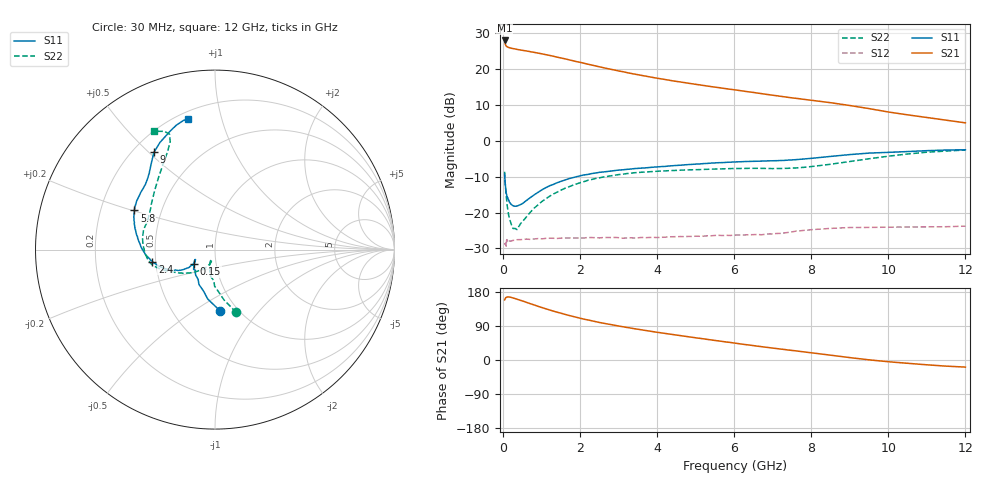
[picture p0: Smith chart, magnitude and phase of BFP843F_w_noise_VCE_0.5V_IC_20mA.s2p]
! Infineon Technologies  Discrete & RF Semiconductors
! BFP843F
! VCE =  0.5 V,  IC =  20 mA
! Common Emitter S-Parameters:  Aug 2013
# GHz  S  MA  R  50
!  f  S11  S21  S12  S22
! GHz  MAG  ANG  MAG  ANG  MAG  ANG  MAG  ANG
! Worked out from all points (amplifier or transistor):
!   103 points, 30 MHz to 12 GHz, reference 50 ohm
!   highest |S21| = 27.9 dB at 30 MHz (marker M1)
!   |S21| within 3 dB of that: start of sweep to 634.6 MHz
!   unconditionally stable (mu >= 1): 112.9 MHz to 1.111 GHz; 1.298 GHz to 1.48 GHz; 1.645 GHz to end of sweep
!   at 400 MHz: K = 1.02, MAG = 25.6 dB, |S12| = -27.6 dB
!   at 3.7 GHz: K = 1.16, MAG = 20.1 dB, |S12| = -27.0 dB
!   at 12 GHz: K = 1.31, MAG = 11.0 dB, |S12| = -23.8 dB
!   lowest NFmin = 0.91 dB at 450 MHz
!   S11 on the Smith chart (normalised r, x): 30 MHz: 0.83, -0.64; 150 MHz: 0.78, -0.13; 2.4 GHz: 0.48, -0.07; 5.8 GHz: 0.35, +0.20; 9 GHz: 0.28, +0.52; 12 GHz: 0.24, +0.78
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0.03  0.3416 -85.4  24.8 158.5  0.0371 27.1  0.3687 -71.3
0.04  0.2785 -98.3  22.95 160.0  0.0362 20.6  0.2853 -79.8
0.05  0.2391 -105.6  21.8 163.0  0.0371 18.0  0.2351 -85.3
0.07  0.19 -119.8  20.81 165.1  0.034 14.3  0.1724 -92.1
0.1  0.1584 -133.8  20.13 166.3  0.0389 9.7  0.1208 -103.9
0.15  0.1412 -145.2  19.71 166.3  0.04 10.8  0.085 -110.4
0.7  0.1616 -146.2  17.3 148.5  0.0422 5.3  0.1011 -114.6
1.1  0.2217 -148.9  15.74 135.1  0.0437 4.9  0.1549 -129.1
1.3  0.2466 -152.5  14.93 128.9  0.0438 5.2  0.1811 -134.8
1.6  0.2834 -157.1  13.76 120.4  0.0442 6.3  0.2176 -142.2
2.1  0.3335 -165.1  11.91 107.6  0.0442 5.4  0.2697 -152.7
2.4  0.355 -169.2  10.96 101.1  0.0446 5.9  0.2983 -156.7
3.2  0.3984 -178.6  8.871 86.0  0.0442 6.1  0.3477 -164.3
4.1  0.4357 171.5  7.245 71.6  0.0452 9.1  0.3774 -171.3
5  0.4721 162.3  6.075 58.5  0.0469 10.4  0.3943 -179.7
5.8  0.4994 154.1  5.275 47.4  0.0481 11.5  0.4067 172.3
6.1  0.5073 151.0  5.015 43.3  0.0485 12.3  0.4098 169.1
7.2  0.529 138.0  4.141 28.9  0.0512 16.4  0.4098 156.2
8.5  0.6035 125.8  3.373 12.7  0.0601 14.4  0.4696 135.8
9  0.64 122.1  3.083 6.3  0.0618 12.3  0.5125 127.7
10.5  0.705 110.9  2.286 -8.7  0.0629 9.7  0.6518 112.5
12  0.7458 101.8  1.77 -18.7  0.0646 11.6  0.7417 117.2
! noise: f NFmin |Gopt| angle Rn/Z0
0.45  0.91  0.05  178  0.09
0.9  0.91  0.06  172  0.09
1.5  0.94  0.08  171  0.09
1.9  0.99  0.08  172  0.1
2.4  1.03  0.1  173  0.1
3.5  1.07  0.13  -176  0.16
5.5  1.18  0.21  -147  0.23
10  1.69  0.38  -105  0.33
